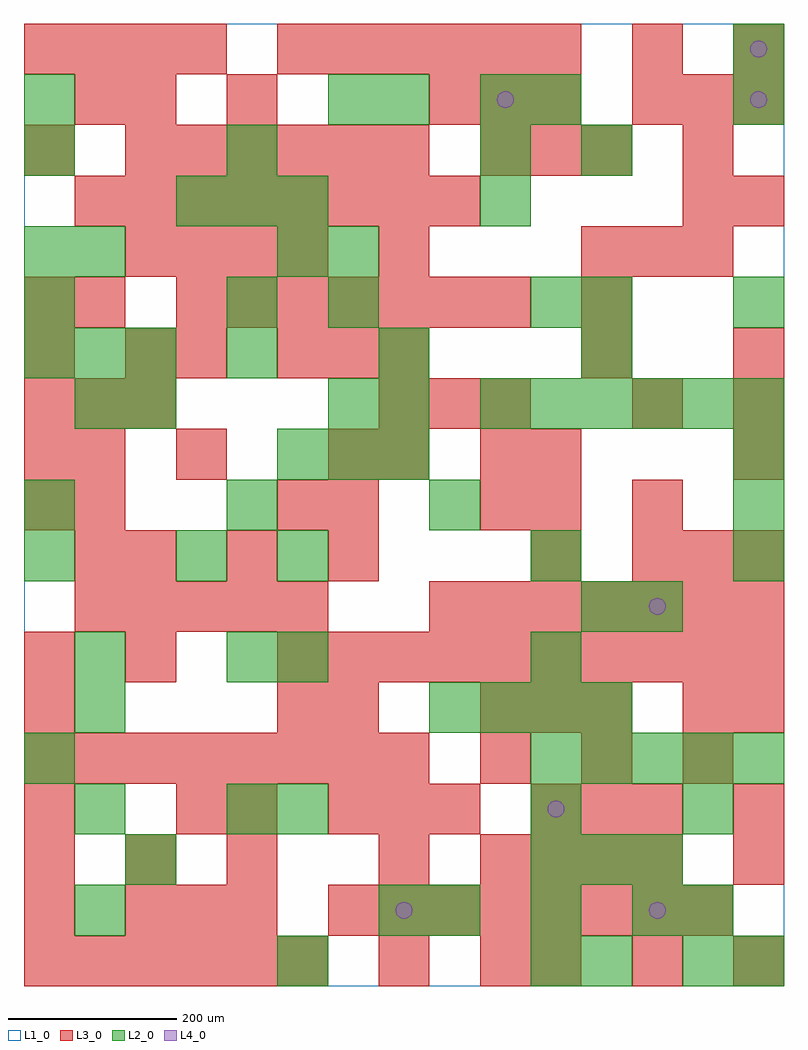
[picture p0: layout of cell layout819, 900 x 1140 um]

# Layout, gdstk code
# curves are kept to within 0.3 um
import gdstk
lib = gdstk.Library(unit=1e-6, precision=1e-09)
def R(c, l, rs):  # rectangles x0, y0, x1, y1
    for r in rs: c.add(gdstk.rectangle(r[:2], r[2:], *l))
def A(c, l, x, y, w, h, nx, ny, dx, dy):  # array of equal rectangles
    R(c, l, [(x+i*dx, y+j*dy, x+i*dx+w, y+j*dy+h) for i in range(nx) for j in range(ny)])
def P(c, l, *ps):  # polygons
    for p in ps: c.add(gdstk.Polygon(p, *l))
L1_0 = (1, 0)
L2_0 = (2, 0)
L3_0 = (3, 0)
L4_0 = (4, 0)

layout819 = lib.new_cell('layout819')
R(layout819, L1_0, [(0,0,900,1140)])
A(layout819, L2_0, 300, 0, 60, 60, 1, 3, 0, 180)
A(layout819, L2_0, 600, 0, 60, 60, 1, 3, 0, 180)
A(layout819, L2_0, 60, 60, 60, 60, 1, 3, 0, 120)
A(layout819, L2_0, 480, 60, 60, 60, 3, 1, 120, 0)
A(layout819, L2_0, 600, 120, 60, 60, 3, 1, 60, 0)
A(layout819, L2_0, 600, 240, 60, 60, 5, 1, 60, 0)
A(layout819, L2_0, 480, 300, 60, 60, 4, 1, 60, 0)
A(layout819, L2_0, 840, 480, 60, 60, 1, 3, 0, 60)
A(layout819, L2_0, 0, 540, 60, 60, 3, 1, 240, 0)
A(layout819, L2_0, 300, 600, 60, 60, 3, 1, 60, 0)
A(layout819, L2_0, 540, 660, 60, 60, 6, 1, 60, 0)
A(layout819, L2_0, 0, 720, 60, 60, 3, 1, 60, 0)
A(layout819, L2_0, 180, 900, 60, 60, 3, 1, 60, 0)
A(layout819, L2_0, 540, 900, 60, 60, 1, 3, 0, 60)
R(layout819, L2_0, [(660,0,720,60), (780,0,840,60), (840,0,900,60), (420,60,480,120), (780,60,840,120), (120,120,180,180), (240,180,300,240), (780,180,840,240), (0,240,60,300), (60,360,120,420), (240,360,300,420), (660,420,720,480), (720,420,780,480), (0,480,60,540), (180,480,240,540), (300,480,360,540), (600,480,660,540), (60,660,120,720), (120,660,180,720), (360,660,420,720), (420,660,480,720), (240,720,300,780), (420,720,480,780), (660,720,720,780), (0,780,60,840), (240,780,300,840), (360,780,420,840), (600,780,660,840), (660,780,720,840), (840,780,900,840), (0,840,60,900), (60,840,120,900), (300,840,360,900), (360,840,420,900), (0,960,60,1020), (240,960,300,1020), (660,960,720,1020), (0,1020,60,1080), (360,1020,420,1080), (420,1020,480,1080), (600,1020,660,1080), (840,1020,900,1080), (840,1080,900,1140)])
A(layout819, L3_0, 0, 0, 60, 60, 6, 1, 60, 0)
A(layout819, L3_0, 600, 0, 60, 60, 3, 1, 120, 0)
A(layout819, L3_0, 0, 60, 60, 60, 1, 3, 0, 120)
A(layout819, L3_0, 120, 60, 60, 60, 3, 1, 60, 0)
A(layout819, L3_0, 360, 60, 60, 60, 8, 1, 60, 0)
A(layout819, L3_0, 0, 120, 60, 60, 3, 1, 120, 0)
A(layout819, L3_0, 540, 120, 60, 60, 4, 1, 60, 0)
A(layout819, L3_0, 360, 180, 60, 60, 3, 1, 60, 0)
A(layout819, L3_0, 600, 180, 60, 60, 3, 1, 60, 0)
A(layout819, L3_0, 0, 240, 60, 60, 8, 1, 60, 0)
A(layout819, L3_0, 540, 240, 60, 60, 3, 1, 120, 0)
A(layout819, L3_0, 540, 300, 60, 60, 3, 2, 60, 660)
A(layout819, L3_0, 300, 360, 60, 60, 10, 1, 60, 0)
A(layout819, L3_0, 60, 420, 60, 60, 5, 1, 60, 0)
A(layout819, L3_0, 480, 420, 60, 60, 7, 1, 60, 0)
A(layout819, L3_0, 60, 480, 60, 60, 1, 3, 0, 60)
A(layout819, L3_0, 120, 480, 60, 60, 3, 1, 120, 0)
A(layout819, L3_0, 600, 480, 60, 60, 1, 3, 0, 60)
A(layout819, L3_0, 720, 480, 60, 60, 3, 2, 60, 540)
A(layout819, L3_0, 840, 600, 60, 60, 1, 3, 0, 60)
A(layout819, L3_0, 0, 660, 60, 60, 3, 1, 60, 0)
A(layout819, L3_0, 420, 660, 60, 60, 3, 1, 60, 0)
A(layout819, L3_0, 300, 720, 60, 60, 3, 1, 60, 0)
A(layout819, L3_0, 180, 780, 60, 60, 7, 1, 60, 0)
A(layout819, L3_0, 120, 840, 60, 60, 4, 1, 60, 0)
A(layout819, L3_0, 660, 840, 60, 60, 3, 1, 60, 0)
A(layout819, L3_0, 60, 900, 60, 60, 8, 1, 60, 0)
A(layout819, L3_0, 120, 960, 60, 60, 6, 1, 60, 0)
A(layout819, L3_0, 480, 1020, 60, 60, 3, 1, 60, 0)
A(layout819, L3_0, 0, 1080, 60, 60, 4, 1, 60, 0)
A(layout819, L3_0, 300, 1080, 60, 60, 6, 1, 60, 0)
R(layout819, L3_0, [(420,0,480,60), (540,0,600,60), (420,120,480,180), (840,120,900,180), (180,180,240,240), (240,180,300,240), (840,180,900,240), (300,300,360,360), (360,300,420,360), (780,300,840,360), (840,300,900,360), (0,360,60,420), (120,360,180,420), (0,540,60,600), (300,540,360,600), (360,540,420,600), (540,540,600,600), (720,540,780,600), (0,600,60,660), (180,600,240,660), (360,600,420,660), (420,600,480,660), (540,600,600,660), (720,660,780,720), (0,720,60,780), (120,720,180,780), (180,720,240,780), (660,720,720,780), (0,780,60,840), (60,780,120,840), (660,780,720,840), (420,840,480,900), (780,900,840,960), (840,900,900,960), (0,960,60,1020), (780,960,840,1020), (60,1020,120,1080), (120,1020,180,1080), (240,1020,300,1080), (720,1080,780,1140), (840,1080,900,1140)])
P(layout819, L4_0, [(460,90),(459.239,93.827),(457.071,97.071),(453.827,99.239),(450,100),(446.173,99.239),(442.929,97.071),(440.761,93.827),(440,90),(440.761,86.173),(442.929,82.929),(446.173,80.761),(450,80),(453.827,80.761),(457.071,82.929),(459.239,86.173)],
  [(580,1050),(579.239,1053.827),(577.071,1057.071),(573.827,1059.239),(570,1060),(566.173,1059.239),(562.929,1057.071),(560.761,1053.827),(560,1050),(560.761,1046.173),(562.929,1042.929),(566.173,1040.761),(570,1040),(573.827,1040.761),(577.071,1042.929),(579.239,1046.173)],
  [(640,210),(639.239,213.827),(637.071,217.071),(633.827,219.239),(630,220),(626.173,219.239),(622.929,217.071),(620.761,213.827),(620,210),(620.761,206.173),(622.929,202.929),(626.173,200.761),(630,200),(633.827,200.761),(637.071,202.929),(639.239,206.173)],
  [(760,90),(759.239,93.827),(757.071,97.071),(753.827,99.239),(750,100),(746.173,99.239),(742.929,97.071),(740.761,93.827),(740,90),(740.761,86.173),(742.929,82.929),(746.173,80.761),(750,80),(753.827,80.761),(757.071,82.929),(759.239,86.173)],
  [(760,450),(759.239,453.827),(757.071,457.071),(753.827,459.239),(750,460),(746.173,459.239),(742.929,457.071),(740.761,453.827),(740,450),(740.761,446.173),(742.929,442.929),(746.173,440.761),(750,440),(753.827,440.761),(757.071,442.929),(759.239,446.173)],
  [(880,1050),(879.239,1053.827),(877.071,1057.071),(873.827,1059.239),(870,1060),(866.173,1059.239),(862.929,1057.071),(860.761,1053.827),(860,1050),(860.761,1046.173),(862.929,1042.929),(866.173,1040.761),(870,1040),(873.827,1040.761),(877.071,1042.929),(879.239,1046.173)],
  [(880,1110),(879.239,1113.827),(877.071,1117.071),(873.827,1119.239),(870,1120),(866.173,1119.239),(862.929,1117.071),(860.761,1113.827),(860,1110),(860.761,1106.173),(862.929,1102.929),(866.173,1100.761),(870,1100),(873.827,1100.761),(877.071,1102.929),(879.239,1106.173)])

lib.write_gds('layout819.gds')
